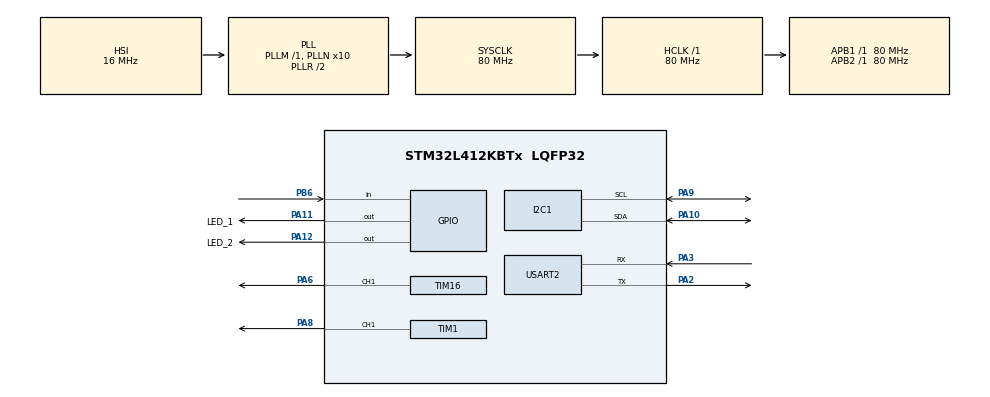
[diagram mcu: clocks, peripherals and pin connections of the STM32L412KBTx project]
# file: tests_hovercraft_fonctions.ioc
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Dma.I2C1_RX.0.Direction=DMA_PERIPH_TO_MEMORY
Dma.I2C1_RX.0.Instance=DMA1_Channel7
Dma.I2C1_RX.0.MemDataAlignment=DMA_MDATAALIGN_BYTE
Dma.I2C1_RX.0.MemInc=DMA_MINC_ENABLE
Dma.I2C1_RX.0.Mode=DMA_NORMAL
Dma.I2C1_RX.0.PeriphDataAlignment=DMA_PDATAALIGN_BYTE
Dma.I2C1_RX.0.PeriphInc=DMA_PINC_DISABLE
Dma.I2C1_RX.0.Priority=DMA_PRIORITY_LOW
Dma.Request0=I2C1_RX
I2C1.Timing=0x10909CEC
Mcu.Family=STM32L4
Mcu.Name=STM32L412KBTx
Mcu.Package=LQFP32
NVIC.DMA1_Channel7_IRQn=true\:0\:0\:false\:false\:true\:false\:true\:true
NVIC.PriorityGroup=NVIC_PRIORITYGROUP_4
PA10.Mode=I2C
PA10.Signal=I2C1_SDA
PA11.GPIO_Label=LED_1
PA11.Signal=GPIO_Output
PA12.GPIO_Label=LED_2
PA12.Signal=GPIO_Output
PA13\ (JTMS/SWDIO).Mode=Serial_Wire
PA13\ (JTMS/SWDIO).Signal=SYS_JTMS-SWDIO
PA14\ (JTCK/SWCLK).Mode=Serial_Wire
PA14\ (JTCK/SWCLK).Signal=SYS_JTCK-SWCLK
PA2.Mode=Asynchronous
PA2.Signal=USART2_TX
PA3.Mode=Asynchronous
PA3.Signal=USART2_RX
PA6.Signal=S_TIM16_CH1
PA8.Signal=S_TIM1_CH1
PA9.Mode=I2C
PA9.Signal=I2C1_SCL
PB6.GPIO_PuPd=GPIO_PULLUP
PB6.Signal=GPIO_Input
ProjectManager.HeapSize=0x200
ProjectManager.StackSize=0x400
ProjectManager.TargetToolchain=STM32CubeIDE
RCC.ADCFreq_Value=80000000
RCC.AHBFreq_Value=80000000
RCC.APB1Freq_Value=80000000
RCC.APB1TimFreq_Value=80000000
RCC.APB2Freq_Value=80000000
RCC.APB2TimFreq_Value=80000000
RCC.CortexFreq_Value=80000000
RCC.HCLKFreq_Value=80000000
RCC.HSE_VALUE=8000000
RCC.HSI48_VALUE=48000000
RCC.HSI_VALUE=16000000
RCC.LSE_VALUE=32768
RCC.MSI_VALUE=4000000
RCC.PLLN=10
RCC.PLLSourceVirtual=RCC_PLLSOURCE_HSI
RCC.SYSCLKFreq_VALUE=80000000
RCC.SYSCLKSource=RCC_SYSCLKSOURCE_PLLCLK
RCC.USBFreq_Value=4000000
RCC.VCOOutputFreq_Value=160000000
SH.S_TIM16_CH1.0=TIM16_CH1,PWM Generation1 CH1
SH.S_TIM1_CH1.0=TIM1_CH1,PWM Generation1 CH1
TIM1.AutoReloadPreload=TIM_AUTORELOAD_PRELOAD_ENABLE
TIM1.Channel-PWM\ Generation1\ CH1=TIM_CHANNEL_1
TIM1.OCPolarity_1=TIM_OCPOLARITY_HIGH
TIM1.Period=1000-1
TIM1.Prescaler=80-1
TIM16.AutoReloadPreload=TIM_AUTORELOAD_PRELOAD_ENABLE
TIM16.Channel=TIM_CHANNEL_1
TIM16.OCPolarity_1=TIM_OCPOLARITY_HIGH
TIM16.Period=999
TIM16.Prescaler=3
USART2.VirtualMode-Asynchronous=VM_ASYNC
VP_TIM16_VS_ClockSourceINT.Mode=Enable_Timer
VP_TIM1_VS_ClockSourceINT.Mode=Internal
board=custom

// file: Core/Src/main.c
/* USER CODE BEGIN Header */
/**
  ******************************************************************************
  * @file           : main.c
  * @brief          : Main program body
  ******************************************************************************
  * @attention
  *
  * Copyright (c) 2023 STMicroelectronics.
  * All rights reserved.
  *
  * This software is licensed under terms that can be found in the LICENSE file
  * in the root directory of this software component.
  * If no LICENSE file comes with this software, it is provided AS-IS.
  *
  ******************************************************************************
  */
/* USER CODE END Header */
#include "main.h"

/* USER CODE BEGIN Includes */
#include "functions.h"
#include "moteurs.h"
/* USER CODE END Includes */

/* USER CODE BEGIN PD */
// Broches correspondantes aux LED
#define LED_PWR GPIO_PIN_11
#define LED_USR GPIO_PIN_12

// Broche correspondante au bouton
#define BTN_SEL GPIO_PIN_6
/* USER CODE END PD */

I2C_HandleTypeDef hi2c1;
DMA_HandleTypeDef hdma_i2c1_rx;

TIM_HandleTypeDef htim1;
TIM_HandleTypeDef htim16;

UART_HandleTypeDef huart2;

void SystemClock_Config(void);
static void MX_GPIO_Init(void);
static void MX_DMA_Init(void);
static void MX_TIM1_Init(void);
static void MX_TIM16_Init(void);
static void MX_USART2_UART_Init(void);
static void MX_I2C1_Init(void);

int main(void)
{

  /* MCU Configuration--------------------------------------------------------*/

  /* Reset of all peripherals, Initializes the Flash interface and the Systick. */
  HAL_Init();

  /* Configure the system clock */
  SystemClock_Config();

  /* Initialize all configured peripherals */
  MX_GPIO_Init();
  MX_DMA_Init();
  MX_TIM1_Init();
  MX_TIM16_Init();
  MX_USART2_UART_Init();
  MX_I2C1_Init();
  /* USER CODE BEGIN 2 */
  HAL_TIM_Base_Start(&htim1);
  HAL_TIM_PWM_Start(&htim1, TIM_CHANNEL_1);  //activation des générateurs PWM (timers)
  //HAL_TIM_PWM_Start(&htim16, TIM_CHANNEL_1);

  __HAL_TIM_SET_COMPARE(&htim1, TIM_CHANNEL_1, 300);

  //HAL_TIM_Base_Start(&htim16);
  //HAL_TIM_PWM_Start(&htim16, TIM_CHANNEL_1);  //activation des générateurs PWM (timers)
  //HAL_TIM_PWM_Start(&htim16, TIM_CHANNEL_1);

  //__HAL_TIM_SET_COMPARE(&htim16, TIM_CHANNEL_1, 200);

  /*test moteur*/
  //__HAL_TIM_SET_COMPARE(&htim1, TIM_CHANNEL_1, 900);
  //HAL_Delay(10000);//10000 ms = 10s
  //__HAL_TIM_SET_COMPARE(&htim1, TIM_CHANNEL_1, 0);
  //HAL_Delay(500);//délai pour séparer les tests

  /*test3 appel fonction dans fichier .c externe*/
  //testmoteur(htim1,300);
  /*cette fonction utilise la fonction delay donc s'il faut manipuler
   * plusieurs moteurs simultanément, les modifications doivent se faire dans
   * moteur.c*/

  /* USER CODE END 2 */

  /* Infinite loop */
  /* USER CODE BEGIN WHILE */

  int mode =0;
  while (1){
	  HAL_Delay(1000);
	  mode = selectMode(); //sélectionne et affiche le mode souhaité
	  switch(mode){   //on exécute la bonne fonction selon le mode choisi
		case 0:
			turnOnLED(GPIOA, LED_PWR);
			HAL_Delay(3000);
			//Forward();
			testmoteur(htim1,300);
			turnOffLED(GPIOA, LED_PWR);
			break;
		case 1:
			turnOnLED(GPIOA, LED_PWR);
			HAL_Delay(3000);
			//ForwardFront();
			testmoteur(htim1,300);
			turnOffLED(GPIOA, LED_PWR);
			break;
		case 2:
			turnOnLED(GPIOA, LED_PWR);
			HAL_Delay(3000);
			//Forward10();

			turnOffLED(GPIOA, LED_PWR);
			break;
		case 3:
			turnOnLED(GPIOA, LED_PWR);
			HAL_Delay(3000);
			//ForwardFast();
			turnOffLED(GPIOA, LED_PWR);
			break;
	  }
	  mode = 0;

	  // indication avec les LEDs que le déplacement est terminé
	  for (int i=0; i<5; i++){
		turnOnLED(GPIOA, LED_USR);
		turnOnLED(GPIOA, LED_PWR);
		HAL_Delay(500);
		turnOffLED(GPIOA, LED_USR);
		turnOffLED(GPIOA, LED_PWR);
		HAL_Delay(500);
	  }
    /* USER CODE END WHILE */

  }
}

void SystemClock_Config(void)
{
  RCC_OscInitTypeDef RCC_OscInitStruct = {0};
  RCC_ClkInitTypeDef RCC_ClkInitStruct = {0};

  /** Configure the main internal regulator output voltage
  */
  if (HAL_PWREx_ControlVoltageScaling(PWR_REGULATOR_VOLTAGE_SCALE1) != HAL_OK)
  {
    Error_Handler();
  }

  /** Initializes the RCC Oscillators according to the specified parameters
  * in the RCC_OscInitTypeDef structure.
  */
  RCC_OscInitStruct.OscillatorType = RCC_OSCILLATORTYPE_HSI;
  RCC_OscInitStruct.HSIState = RCC_HSI_ON;
  RCC_OscInitStruct.HSICalibrationValue = RCC_HSICALIBRATION_DEFAULT;
  RCC_OscInitStruct.PLL.PLLState = RCC_PLL_ON;
  RCC_OscInitStruct.PLL.PLLSource = RCC_PLLSOURCE_HSI;
  RCC_OscInitStruct.PLL.PLLM = 1;
  RCC_OscInitStruct.PLL.PLLN = 10;
  RCC_OscInitStruct.PLL.PLLQ = RCC_PLLQ_DIV2;
  RCC_OscInitStruct.PLL.PLLR = RCC_PLLR_DIV2;
  if (HAL_RCC_OscConfig(&RCC_OscInitStruct) != HAL_OK)
  {
    Error_Handler();
  }

  /** Initializes the CPU, AHB and APB buses clocks
  */
  RCC_ClkInitStruct.ClockType = RCC_CLOCKTYPE_HCLK|RCC_CLOCKTYPE_SYSCLK
                              |RCC_CLOCKTYPE_PCLK1|RCC_CLOCKTYPE_PCLK2;
  RCC_ClkInitStruct.SYSCLKSource = RCC_SYSCLKSOURCE_PLLCLK;
  RCC_ClkInitStruct.AHBCLKDivider = RCC_SYSCLK_DIV1;
  RCC_ClkInitStruct.APB1CLKDivider = RCC_HCLK_DIV1;
  RCC_ClkInitStruct.APB2CLKDivider = RCC_HCLK_DIV1;

  if (HAL_RCC_ClockConfig(&RCC_ClkInitStruct, FLASH_LATENCY_4) != HAL_OK)
  {
    Error_Handler();
  }
}

static void MX_I2C1_Init(void)
{

  hi2c1.Instance = I2C1;
  hi2c1.Init.Timing = 0x10909CEC;
  hi2c1.Init.OwnAddress1 = 0;
  hi2c1.Init.AddressingMode = I2C_ADDRESSINGMODE_7BIT;
  hi2c1.Init.DualAddressMode = I2C_DUALADDRESS_DISABLE;
  hi2c1.Init.OwnAddress2 = 0;
  hi2c1.Init.OwnAddress2Masks = I2C_OA2_NOMASK;
  hi2c1.Init.GeneralCallMode = I2C_GENERALCALL_DISABLE;
  hi2c1.Init.NoStretchMode = I2C_NOSTRETCH_DISABLE;
  if (HAL_I2C_Init(&hi2c1) != HAL_OK)
  {
    Error_Handler();
  }

  /** Configure Analogue filter
  */
  if (HAL_I2CEx_ConfigAnalogFilter(&hi2c1, I2C_ANALOGFILTER_ENABLE) != HAL_OK)
  {
    Error_Handler();
  }

  /** Configure Digital filter
  */
  if (HAL_I2CEx_ConfigDigitalFilter(&hi2c1, 0) != HAL_OK)
  {
    Error_Handler();
  }

}

static void MX_TIM1_Init(void)
{

  TIM_ClockConfigTypeDef sClockSourceConfig = {0};
  TIM_MasterConfigTypeDef sMasterConfig = {0};
  TIM_OC_InitTypeDef sConfigOC = {0};
  TIM_BreakDeadTimeConfigTypeDef sBreakDeadTimeConfig = {0};

  htim1.Instance = TIM1;
  htim1.Init.Prescaler = 80-1;
  htim1.Init.CounterMode = TIM_COUNTERMODE_UP;
  htim1.Init.Period = 1000-1;
  htim1.Init.ClockDivision = TIM_CLOCKDIVISION_DIV1;
  htim1.Init.RepetitionCounter = 0;
  htim1.Init.AutoReloadPreload = TIM_AUTORELOAD_PRELOAD_ENABLE;
  if (HAL_TIM_Base_Init(&htim1) != HAL_OK)
  {
    Error_Handler();
  }
  sClockSourceConfig.ClockSource = TIM_CLOCKSOURCE_INTERNAL;
  if (HAL_TIM_ConfigClockSource(&htim1, &sClockSourceConfig) != HAL_OK)
  {
    Error_Handler();
  }
  if (HAL_TIM_PWM_Init(&htim1) != HAL_OK)
  {
    Error_Handler();
  }
  sMasterConfig.MasterOutputTrigger = TIM_TRGO_RESET;
  sMasterConfig.MasterOutputTrigger2 = TIM_TRGO2_RESET;
  sMasterConfig.MasterSlaveMode = TIM_MASTERSLAVEMODE_DISABLE;
  if (HAL_TIMEx_MasterConfigSynchronization(&htim1, &sMasterConfig) != HAL_OK)
  {
    Error_Handler();
  }
  sConfigOC.OCMode = TIM_OCMODE_PWM1;
  sConfigOC.Pulse = 0;
  sConfigOC.OCPolarity = TIM_OCPOLARITY_HIGH;
  sConfigOC.OCNPolarity = TIM_OCNPOLARITY_HIGH;
  sConfigOC.OCFastMode = TIM_OCFAST_DISABLE;
  sConfigOC.OCIdleState = TIM_OCIDLESTATE_RESET;
  sConfigOC.OCNIdleState = TIM_OCNIDLESTATE_RESET;
  if (HAL_TIM_PWM_ConfigChannel(&htim1, &sConfigOC, TIM_CHANNEL_1) != HAL_OK)
  {
    Error_Handler();
  }
  sBreakDeadTimeConfig.OffStateRunMode = TIM_OSSR_DISABLE;
  sBreakDeadTimeConfig.OffStateIDLEMode = TIM_OSSI_DISABLE;
  sBreakDeadTimeConfig.LockLevel = TIM_LOCKLEVEL_OFF;
  sBreakDeadTimeConfig.DeadTime = 0;
  sBreakDeadTimeConfig.BreakState = TIM_BREAK_DISABLE;
  sBreakDeadTimeConfig.BreakPolarity = TIM_BREAKPOLARITY_HIGH;
  sBreakDeadTimeConfig.BreakFilter = 0;
  sBreakDeadTimeConfig.Break2State = TIM_BREAK2_DISABLE;
  sBreakDeadTimeConfig.Break2Polarity = TIM_BREAK2POLARITY_HIGH;
  sBreakDeadTimeConfig.Break2Filter = 0;
  sBreakDeadTimeConfig.AutomaticOutput = TIM_AUTOMATICOUTPUT_DISABLE;
  if (HAL_TIMEx_ConfigBreakDeadTime(&htim1, &sBreakDeadTimeConfig) != HAL_OK)
  {
    Error_Handler();
  }
  HAL_TIM_MspPostInit(&htim1);

}

static void MX_TIM16_Init(void)
{

  TIM_OC_InitTypeDef sConfigOC = {0};
  TIM_BreakDeadTimeConfigTypeDef sBreakDeadTimeConfig = {0};

  htim16.Instance = TIM16;
  htim16.Init.Prescaler = 3;
  htim16.Init.CounterMode = TIM_COUNTERMODE_UP;
  htim16.Init.Period = 999;
  htim16.Init.ClockDivision = TIM_CLOCKDIVISION_DIV1;
  htim16.Init.RepetitionCounter = 0;
  htim16.Init.AutoReloadPreload = TIM_AUTORELOAD_PRELOAD_ENABLE;
  if (HAL_TIM_Base_Init(&htim16) != HAL_OK)
  {
    Error_Handler();
  }
  if (HAL_TIM_PWM_Init(&htim16) != HAL_OK)
  {
    Error_Handler();
  }
  sConfigOC.OCMode = TIM_OCMODE_PWM1;
  sConfigOC.Pulse = 0;
  sConfigOC.OCPolarity = TIM_OCPOLARITY_HIGH;
  sConfigOC.OCNPolarity = TIM_OCNPOLARITY_HIGH;
  sConfigOC.OCFastMode = TIM_OCFAST_DISABLE;
  sConfigOC.OCIdleState = TIM_OCIDLESTATE_RESET;
  sConfigOC.OCNIdleState = TIM_OCNIDLESTATE_RESET;
  if (HAL_TIM_PWM_ConfigChannel(&htim16, &sConfigOC, TIM_CHANNEL_1) != HAL_OK)
  {
    Error_Handler();
  }
  sBreakDeadTimeConfig.OffStateRunMode = TIM_OSSR_DISABLE;
  sBreakDeadTimeConfig.OffStateIDLEMode = TIM_OSSI_DISABLE;
  sBreakDeadTimeConfig.LockLevel = TIM_LOCKLEVEL_OFF;
  sBreakDeadTimeConfig.DeadTime = 0;
  sBreakDeadTimeConfig.BreakState = TIM_BREAK_DISABLE;
  sBreakDeadTimeConfig.BreakPolarity = TIM_BREAKPOLARITY_HIGH;
  sBreakDeadTimeConfig.AutomaticOutput = TIM_AUTOMATICOUTPUT_DISABLE;
  if (HAL_TIMEx_ConfigBreakDeadTime(&htim16, &sBreakDeadTimeConfig) != HAL_OK)
  {
    Error_Handler();
  }
  HAL_TIM_MspPostInit(&htim16);

}

static void MX_USART2_UART_Init(void)
{

  huart2.Instance = USART2;
  huart2.Init.BaudRate = 115200;
  huart2.Init.WordLength = UART_WORDLENGTH_8B;
  huart2.Init.StopBits = UART_STOPBITS_1;
  huart2.Init.Parity = UART_PARITY_NONE;
  huart2.Init.Mode = UART_MODE_TX_RX;
  huart2.Init.HwFlowCtl = UART_HWCONTROL_NONE;
  huart2.Init.OverSampling = UART_OVERSAMPLING_16;
  huart2.Init.OneBitSampling = UART_ONE_BIT_SAMPLE_DISABLE;
  huart2.AdvancedInit.AdvFeatureInit = UART_ADVFEATURE_NO_INIT;
  if (HAL_UART_Init(&huart2) != HAL_OK)
  {
    Error_Handler();
  }

}

static void MX_DMA_Init(void)
{

  /* DMA controller clock enable */
  __HAL_RCC_DMA1_CLK_ENABLE();

  /* DMA interrupt init */
  /* DMA1_Channel7_IRQn interrupt configuration */
  HAL_NVIC_SetPriority(DMA1_Channel7_IRQn, 0, 0);
  HAL_NVIC_EnableIRQ(DMA1_Channel7_IRQn);

}

static void MX_GPIO_Init(void)
{
  GPIO_InitTypeDef GPIO_InitStruct = {0};

  /* GPIO Ports Clock Enable */
  __HAL_RCC_GPIOA_CLK_ENABLE();
  __HAL_RCC_GPIOB_CLK_ENABLE();

  /*Configure GPIO pin Output Level */
  HAL_GPIO_WritePin(GPIOA, LED_1_Pin|LED_2_Pin, GPIO_PIN_RESET);

  /*Configure GPIO pins : LED_1_Pin LED_2_Pin */
  GPIO_InitStruct.Pin = LED_1_Pin|LED_2_Pin;
  GPIO_InitStruct.Mode = GPIO_MODE_OUTPUT_PP;
  GPIO_InitStruct.Pull = GPIO_NOPULL;
  GPIO_InitStruct.Speed = GPIO_SPEED_FREQ_LOW;
  HAL_GPIO_Init(GPIOA, &GPIO_InitStruct);

  /*Configure GPIO pin : PB6 */
  GPIO_InitStruct.Pin = GPIO_PIN_6;
  GPIO_InitStruct.Mode = GPIO_MODE_INPUT;
  GPIO_InitStruct.Pull = GPIO_PULLUP;
  HAL_GPIO_Init(GPIOB, &GPIO_InitStruct);

}

/* USER CODE BEGIN 4 */
void avancer(void)
{
	__HAL_TIM_SET_COMPARE(&htim1, TIM_CHANNEL_1, 300);//valeur à ajuster selon les tests
	__HAL_TIM_SET_COMPARE(&htim16, TIM_CHANNEL_1, 500);
	HAL_Delay(5000);//5s
	__HAL_TIM_SET_COMPARE(&htim1, TIM_CHANNEL_1, 0);
	__HAL_TIM_SET_COMPARE(&htim16, TIM_CHANNEL_1, 0);
}

void avancer10m(void)
{
	 //reception de données du MPU6050 et manipulation du servomoteur
}
/* USER CODE END 4 */

void Error_Handler(void)
{
  __disable_irq();
  while (1)
  {
  }
}
